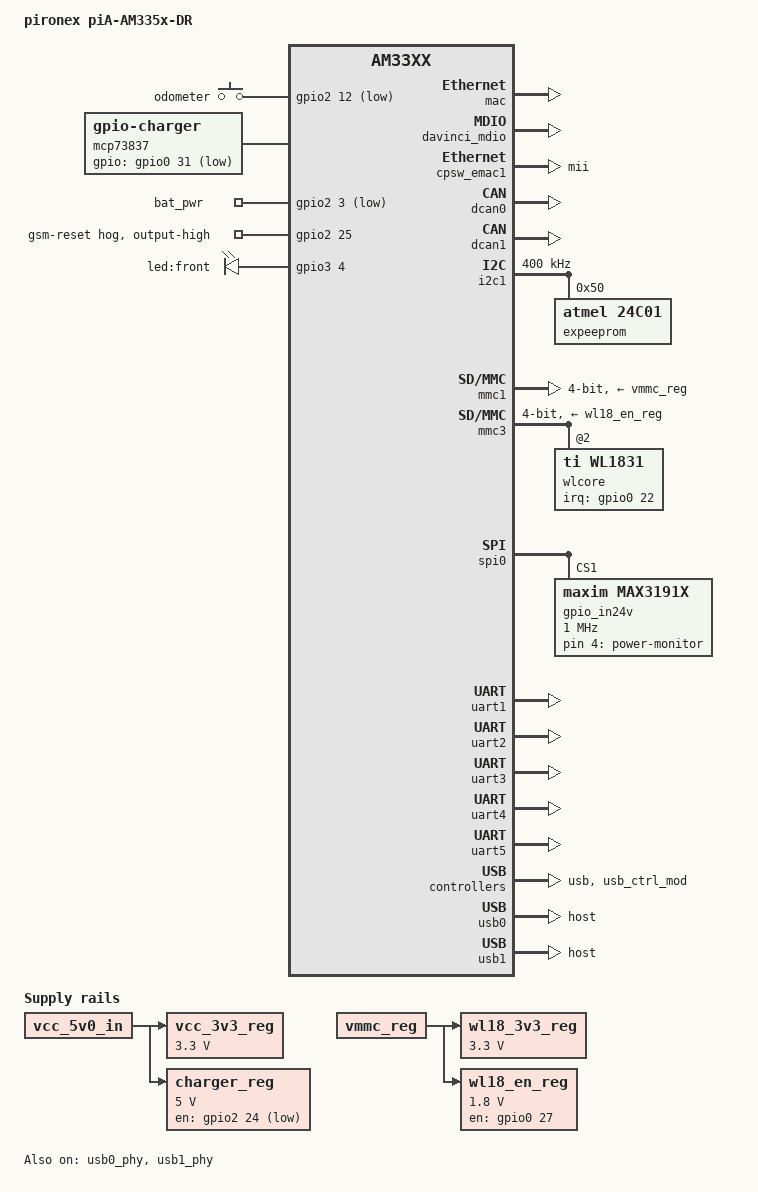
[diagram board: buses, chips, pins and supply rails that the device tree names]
/*
 * Copyright (C) 2015 pironex GmbH (http://www.pironex.de)
 *
 * This program is free software; you can redistribute it and/or modify
 * it under the terms of the GNU General Public License version 2 as
 * published by the Free Software Foundation.
 */
/dts-v1/;

#include "am335x-pia-pm.dtsi"
#include <dt-bindings/interrupt-controller/irq.h>

/ {
	model = "pironex piA-AM335x-DR";
	compatible = "pironex,am335x-pia-dr", "pironex,am335x-pia-pm", "ti,am33xx";

	/* cpus: defined in PM */
	/* memory: defined in PM, TODO different memory configurations */

	vcc_3v3_reg: fixedregulator@1 {
		compatible = "regulator-fixed";
		regulator-name = "vcc_3v3_reg";
		regulator-min-microvolt = <3300000>;
		regulator-max-microvolt = <3300000>;
		regulator-boot-on;
		regulator-always-on;
		vin-supply = <&vcc_5v0_in>; /* turned on with vaux2, supplied by vcc_5v0 */
	};

	gsm_vbat_reg: fixedregulator@2 {
		compatible = "regulator-fixed";
		regulator-name = "gsm_vbat_reg";
		regulator-min-microvolt = <4200000>;
		regulator-max-microvolt = <4200000>;
		regulator-max-microamp = <3000000>;
		regulator-boot-on;
		regulator-always-on;
		enable-active-high;
		gpio = <&gpio2 2 GPIO_ACTIVE_HIGH>; /* GSM_PWR_EN */
		vin-supply = <&vcc_5v0_in>; /* turned on with vaux2, supplied by vcc_5v0 */

		status = "disabled";
	};

	wl18_3v3_reg: fixedregulator@3 {
		compatible = "regulator-fixed";
		regulator-name = "vwl18xx_3v3";
		regulator-min-microvolt = <3300000>;
		regulator-max-microvolt = <3300000>;
		regulator-boot-on;
		regulator-always-on;
		vin-supply = <&vmmc_reg>;
	};

	wl18_en_reg: fixedregulator@4 {
		compatible = "regulator-fixed";
		regulator-name = "wlan-en-regulator";
		regulator-min-microvolt = <1800000>;
		regulator-max-microvolt = <1800000>;
		gpio = <&gpio0 27 GPIO_ACTIVE_HIGH>;
		startup-delay-us = <70000>; /* wait 70 ms for WL18xx startup */
		enable-active-high;
		/* turned on with vmmc from TPS, powered by vcc_5v0,
		   GPIO is used to turn the WL18xx module on via WLAN_EN */
		vin-supply = <&vmmc_reg>;
	};

	charger_reg: fixedregulator@5 {
		compatible = "regulator-fixed";
		regulator-name = "charger-regulator";
		regulator-min-microvolt = <5000000>;
		regulator-max-microvolt = <5000000>;
		regulator-boot-on;
		regulator-always-on;
		gpio = <&gpio2 24 GPIO_ACTIVE_LOW>;
		vin-supply = <&vcc_5v0_in>;
	};

	inputs_24v: inputs_24v {
		compatible = "gpio-keys";
	};

	inputs_24v_polled: inputs_24v_polled {
		compatible = "gpio-keys-polled";
		poll-interval = <500>;
	};

	mcp73837: charger {
		pinctrl-names = "default";
		pinctrl-0 = <&charger_pins>;

		compatible = "gpio-charger";
		charger-type = "mains";
		gpios = <&gpio0 31 GPIO_ACTIVE_LOW>;
	};

	main_battery: battery {
		/* TODO make battery usable */
		power-supplies = <&mcp73837>;
	};

	bat_pwr: gpio_poweroff {
		/* REVISIT this doesn't work without a battery */ 
		pinctrl-names = "default";
		pinctrl-0 = <&bat_pwr_pins>;

		compatible = "gpio-poweroff";
		gpios = <&gpio2 3 GPIO_ACTIVE_LOW>;
	};
};

&gpio2 {
	gpio_gsm_reset {
		gpio-hog;
		gpios = <25 GPIO_ACTIVE_HIGH>;
		output-high;
		line-name = "gsm-reset";
	};
};

&am33xx_pinmux {
	pinctrl-names = "default";
	pinctrl-0 = <&board_pins &clkout2_pin>;

	board_pins: pinmux_board_pins {
		pinctrl-single,pins = <
			0x090 (PIN_INPUT_PULLUP | MUX_MODE7)	/* GSM_PWR_EN: gpmc_advn_ale.gpio2_2 */
			0x098 (PIN_INPUT_PULLUP | MUX_MODE7)	/* GSM_PWR_OK: gpmc_wen.gpio2_4 */
			0x0EC (PIN_INPUT | MUX_MODE7)		/* GSM_RESET: lcd_ac_bias_en.gpio2_25 */
			0x114 (PIN_INPUT | MUX_MODE7)		/* GSM_STATUS: mii1_txen.gpio3_3 */
			0x1A0 (PIN_INPUT_PULLDOWN  | MUX_MODE7)	/* GSM_PWR_KEY: mcasp0_aclkr.gpio3_18 */
			0x1b4 (PIN_OUTPUT_PULLDOWN | MUX_MODE3)	/* xdma_event_intr1.clkout2 */
		>;
	};

	bat_pwr_pins: pinmux_bat_pwr_pins {
		pinctrl-single,pins = <
			0x094 (PIN_INPUT_PULLUP | MUX_MODE7)	/* bat_pwr: gpmc_oen_ren.gpio2_3 */
		>;
	};

	charger_pins: pinmux_charger_pins {
		pinctrl-single,pins = <
			0x074 (PIN_INPUT_PULLUP | MUX_MODE7)	/* PowerGood: gpmc_wpn.gpio0_31 */
			0x0E8 (PIN_INPUT | MUX_MODE7)		/* CHR_EN: lcd_pclk.gpio2_24 */
			0x128 (PIN_INPUT_PULLUP | MUX_MODE7)	/* charging: mii1_txd0_ale.gpio0_28 */
		>;
	};

	clkout2_pin: pinmux_clkout2_pin {
		pinctrl-single,pins = <
			0x1b4 (PIN_OUTPUT_PULLDOWN | MUX_MODE3)		/* xdma_event_intr1.clkout2 */
		>;
	};

	cpsw_default: cpsw_default {
		pinctrl-single,pins = <
			/* Slave 2 */
			0x040 (PIN_OUTPUT_PULLDOWN | MUX_MODE1)	/* gpmc_a0.gmii2_txen */
			0x044 (PIN_INPUT_PULLUP | MUX_MODE1)	/* gpmc_a1.mii2_rxdv */
			0x048 (PIN_OUTPUT_PULLDOWN | MUX_MODE1)	/* gpmc_a2.mii2_txd3 */
			0x04c (PIN_OUTPUT_PULLDOWN | MUX_MODE1)	/* gpmc_a3.mii2_txd2 */
			0x050 (PIN_OUTPUT_PULLDOWN | MUX_MODE1)	/* gpmc_a4.mii2_txd1 */
			0x054 (PIN_OUTPUT_PULLDOWN | MUX_MODE1)	/* gpmc_a5.mii2_txd0 */
			0x058 (PIN_INPUT_PULLUP | MUX_MODE1)	/* gpmc_a6.mii2_txclk */
			0x05c (PIN_INPUT_PULLUP | MUX_MODE1)	/* gpmc_a7.mii2_rxclk */
			0x060 (PIN_INPUT_PULLUP | MUX_MODE1)	/* gpmc_a8.mii2_rxd3 */
			0x064 (PIN_INPUT_PULLUP | MUX_MODE1)	/* gpmc_a9.mii2_rxd2 */
			0x068 (PIN_INPUT_PULLUP | MUX_MODE1)	/* gpmc_a10.mii2_rxd1 */
			0x06c (PIN_INPUT_PULLUP | MUX_MODE1)	/* gpmc_a11.mii2_rxd0 */
			0x070 (PIN_INPUT_PULLUP | MUX_MODE1)	/* gpmc_wait0.gmii2_crs */
			0x078 (PIN_INPUT_PULLUP | MUX_MODE1)	/* gpmc_be1n.gmii2_col */
		>;
	};

	cpsw_sleep: cpsw_sleep {
		pinctrl-single,pins = <
			/* Slave 2 reset value */
			0x040 (PIN_INPUT_PULLDOWN | MUX_MODE7)
			0x044 (PIN_INPUT_PULLDOWN | MUX_MODE7)
			0x048 (PIN_INPUT_PULLDOWN | MUX_MODE7)
			0x04c (PIN_INPUT_PULLDOWN | MUX_MODE7)
			0x050 (PIN_INPUT_PULLDOWN | MUX_MODE7)
			0x054 (PIN_INPUT_PULLDOWN | MUX_MODE7)
			0x058 (PIN_INPUT_PULLDOWN | MUX_MODE7)
			0x05c (PIN_INPUT_PULLDOWN | MUX_MODE7)
			0x060 (PIN_INPUT_PULLDOWN | MUX_MODE7)
			0x064 (PIN_INPUT_PULLDOWN | MUX_MODE7)
			0x068 (PIN_INPUT_PULLDOWN | MUX_MODE7)
			0x06c (PIN_INPUT_PULLDOWN | MUX_MODE7)
			0x070 (PIN_INPUT_PULLDOWN | MUX_MODE7)
			0x078 (PIN_INPUT_PULLDOWN | MUX_MODE7)
		>;
	};

	davinci_mdio_default: davinci_mdio_default {
		pinctrl-single,pins = <
			/* MDIO */
			0x148 (PIN_INPUT_PULLUP | SLEWCTRL_FAST | MUX_MODE0)	/* mdio_data.mdio_data */
			0x14c (PIN_OUTPUT_PULLUP | MUX_MODE0)			/* mdio_clk.mdio_clk */
		>;
	};

	davinci_mdio_sleep: davinci_mdio_sleep {
		pinctrl-single,pins = <
			/* MDIO reset value */
			0x148 (PIN_INPUT_PULLDOWN | MUX_MODE7)
			0x14c (PIN_INPUT_PULLDOWN | MUX_MODE7)
		>;
	};

	dcan0_pins: pinmux_dcan0_pins {
		pinctrl-single,pins = <
			0x178 (PIN_OUTPUT | MUX_MODE2)	/* uart1_ctsn.dcan0_tx */
			0x17C (PIN_INPUT | MUX_MODE2)	/* uart1_rtsn.dcan0_rx */
			0x194 (PIN_INPUT_PULLUP | MUX_MODE7) /* CAN0_RES: mcasp0_fsx.gpio3_15 */
		>;
	};

	dcan1_pins: pinmux_dcan1_pins {
		pinctrl-single,pins = <
			0x168 (PIN_OUTPUT | MUX_MODE2)	/* uart0_ctsn.dcan1_tx */
			0x16C (PIN_INPUT | MUX_MODE2)	/* uart0_rtsn.dcan1_rx */
			0x190 (PIN_INPUT_PULLUP | MUX_MODE7) /* CAN1_RES: mcasp0_aclkx.gpio3_14 */
		>;
	};

	inputs_24v_pins: pinmux_inputs_24v_pins {
		pinctrl-single,pins = <
			0x0B8 (PIN_INPUT | MUX_MODE7)	/* Odometer: lcd_data6.gpio2_12 */
		>;
	};

	i2c1_pins: pinmux_i2c1_pins {
		pinctrl-single,pins = <
			0x10c (PIN_INPUT_PULLUP | MUX_MODE3)	/* i2c0_sda.i2c0_sda */
			0x110 (PIN_INPUT_PULLUP | MUX_MODE3)	/* i2c0_scl.i2c0_scl */
		>;
	};

	led_pins: pinmux_led {
		pinctrl-single,pins = <
			0x07c (PIN_OUTPUT_PULLDOWN | MUX_MODE7)	/* LED1 gpmc_csn0.gpio1_29 */
			0x118 (PIN_OUTPUT_PULLDOWN | MUX_MODE7)	/* LED2 mii1_rxvd.gpio3_4 */
		>;
	};

	mmc1_pins: pinmux_mmc1_pins {
		pinctrl-single,pins = <
			0x0f0 (PIN_INPUT_PULLUP | MUX_MODE0)	/* mmc0_dat0.mmc0_dat0 */
			0x0f4 (PIN_INPUT_PULLUP | MUX_MODE0)	/* mmc0_dat1.mmc0_dat1 */
			0x0f8 (PIN_INPUT_PULLUP | MUX_MODE0)	/* mmc0_dat2.mmc0_dat2 */
			0x0fc (PIN_INPUT_PULLUP | MUX_MODE0)	/* mmc0_dat3.mmc0_dat3 */
			0x100 (PIN_INPUT_PULLUP | MUX_MODE0)	/* mmc0_clk.mmc0_clk */
			0x104 (PIN_INPUT_PULLUP | MUX_MODE0)	/* mmc0_cmd.mmc0_cmd */
		>;
	};

	max3191x_pins: pinmux_max3191x_pins {
		pinctrl-single,pins = <
			0x160 (PIN_INPUT_PULLUP | MUX_MODE0) /* spi0_cs1.spi0_cs1 */
			0x024 (PIN_INPUT_PULLUP | MUX_MODE7) /* gpmcs_ad9.gpio0_23 */
		>;
	};
	/* WL18xx */
	mmc3_pins_default: pinmux_mmc3_pins_default {
		pinctrl-single,pins = <
			0x30 (PIN_INPUT_PULLUP | MUX_MODE3)	/* gpmc_ad12.mmc2_dat0 */
			0x34 (PIN_INPUT_PULLUP | MUX_MODE3)	/* gpmc_ad13.mmc2_dat1 */
			0x38 (PIN_INPUT_PULLUP | MUX_MODE3)	/* gpmc_ad14.mmc2_dat2 */
			0x3C (PIN_INPUT_PULLUP | MUX_MODE3)	/* gpmc_ad15.mmc2_dat3 */
			0x88 (PIN_INPUT_PULLUP | MUX_MODE3)	/* gpmc_csn3.mmc2_cmd */
			0x8C (PIN_INPUT_PULLUP | MUX_MODE3)	/* gpmc_clk.mmc2_clk */
		>;
	};
	mmc3_pins_sleep: pinmux_mmc3_pins_sleep {
		pinctrl-single,pins = <
			0x30 (PIN_INPUT_PULLDOWN | MUX_MODE7)	/* gpmc_ad12.mmc2_dat0 */
			0x34 (PIN_INPUT_PULLDOWN | MUX_MODE7)	/* gpmc_ad13.mmc2_dat1 */
			0x38 (PIN_INPUT_PULLDOWN | MUX_MODE7)	/* gpmc_ad14.mmc2_dat2 */
			0x3C (PIN_INPUT_PULLDOWN | MUX_MODE7)	/* gpmc_ad15.mmc2_dat3 */
			0x88 (PIN_INPUT_PULLDOWN | MUX_MODE7)	/* gpmc_csn3.mmc2_cmd */
			0x8C (PIN_INPUT_PULLDOWN | MUX_MODE7)	/* gpmc_clk.mmc2_clk */
		>;
	};

	uart1_pins: pinmux_uart1_pins {
		pinctrl-single,pins = <
			0x198 (PIN_OUTPUT | MUX_MODE7)		/* DE mcasp0_axr0.gpio3_16 */
			0x180 (PIN_INPUT_PULLUP | MUX_MODE0)	/* uart1_rxd.uart1_rxd */
			0x184 (PIN_OUTPUT_PULLDOWN | MUX_MODE0)	/* uart1_txd.uart1_txd */
		>;
	};

	uart2_pins: pinmux_uart2_pins {
		pinctrl-single,pins = <
			/* 0x0C0 (PIN_INPUT_PULLUP | MUX_MODE6) */	/* lcd_data8.uart2_ctsn */
			/* 0x0C4 (PIN_OUTPUT | MUX_MODE6) */	/* lcd_data9.uart2_rtsn */
			0x12C (PIN_INPUT_PULLUP | MUX_MODE1)	/* mii1_txclk.uart2_rxd */
			0x130 (PIN_OUTPUT_PULLDOWN | MUX_MODE1)	/* mii1_rxclk.uart2_txd */
			0x19C (PIN_INPUT_PULLUP | MUX_MODE7)	/* UART2.RI: mcasp0_ahclkr.gpio3_17 */
			0x1A4 (PIN_INPUT | MUX_MODE7)	/* UART2.DTR: mcasp0_fsr.gpio3_19 */
		>;
	};

	uart3_pins: pinmux_uart3_pins {
		pinctrl-single,pins = <
			0x0C8 (PIN_INPUT_PULLUP | MUX_MODE6)	/* lcd_data10.uart3_ctsn */
			0x0CC (PIN_OUTPUT_PULLDOWN | MUX_MODE6)	/* lcd_data11.uart3_rtsn */
			0x134 (PIN_INPUT_PULLUP | MUX_MODE1)	/* mii1_rxd3.uart3_rxd */
			0x138 (PIN_OUTPUT_PULLDOWN | MUX_MODE1)	/* mii1_rxd2.uart3_txd */
		>;
	};

	uart4_pins: pinmux_uart4_pins {
		pinctrl-single,pins = <
			0x11C (PIN_INPUT_PULLUP | MUX_MODE3)	/* mii1_txd3.uart4_rxd */
			0x120 (PIN_OUTPUT_PULLDOWN | MUX_MODE3)	/* mii1_txd2.uart4_txd */
		>;
	};

	uart5_pins: pinmux_uart5_pins {
		pinctrl-single,pins = <
			0x108 (PIN_INPUT_PULLUP | MUX_MODE3)	/* mii1_col.uart5_rxd */
			0x144 (PIN_OUTPUT | MUX_MODE3)	/* mii1_refclk.uart5_txd */
		>;
	};

	usb0_pins: pinmux_usb0_pins {
		pinctrl-single,pins = <
			0x21c (PIN_OUTPUT | MUX_MODE0)	/* usb0_drvvbus.usb0_drvvbus */
		>;
	};

	usb1_pins: pinmux_usb1_pins {
		pinctrl-single,pins = <
			0x234 (PIN_OUTPUT | MUX_MODE0)	/* usb1_drvvbus.usb1_drvvbus */
		>;
	};

	/* wl18xx card enable/irq GPIOs. */
	wlan_pins_default: pinmux_wlan_pins_default {
		pinctrl-single,pins = <
			0x020 (PIN_INPUT | MUX_MODE7)		/* WLAN_IRQ gpmc_ad8.gpio0_22 */
			0x02C (PIN_OUTPUT_PULLDOWN | MUX_MODE7)	/* WLAN_EN gpmc_ad11.gpio0_27 */
			0x164 (PIN_OUTPUT_PULLDOWN | MUX_MODE7)	/* BT_EN ecap0_in_pwm0_out.gpio0_7 */
		>;
	};

	wlan_pins_sleep: pinmux_wlan_pins_sleep {
		pinctrl-single,pins = <
			0x020 (PIN_INPUT | MUX_MODE7)		/* WLAN_IRQ gpmc_ad9.gpio0_22 */
			0x02C (PIN_OUTPUT_PULLDOWN | MUX_MODE7)	/* WLAN_EN gpmc_ad11.gpio0_27 */
			0x164 (PIN_OUTPUT_PULLUP | MUX_MODE7)	/* BT_EN ecap0_in_pwm0_out.gpio0_7 */
		>;
	};
};

&mac {
	pinctrl-names = "default", "sleep";
	pinctrl-0 = <&cpsw_default>;
	pinctrl-1 = <&cpsw_sleep>;
	active_slave = <1>; /* only MII2 connected */

	status = "okay";
};

&davinci_mdio {
	pinctrl-names = "default", "sleep";
	pinctrl-0 = <&davinci_mdio_default>;
	pinctrl-1 = <&davinci_mdio_sleep>;

	status = "okay";
};

&cpsw_emac1 {
	/* PHY is a IP175 switch, host port has PHY address 5 */
	phy_id = <&davinci_mdio>, <5>;
	phy-mode = "mii";
};

&dcan0 {
	pinctrl-names = "default";
	pinctrl-0 = <&dcan0_pins>;
	/* TODO is there a ways to provide a -supply? */

	status = "okay";
};

&dcan1 {
	pinctrl-names = "default";
	pinctrl-0 = <&dcan1_pins>;

	status = "okay";
};

&i2c1 {
	pinctrl-names = "default";
	pinctrl-0 = <&i2c1_pins>;
	clock-frequency = <400000>; /* 400 kHz */

	status = "okay";

	/* 24AA02E48 EEPROM with UID */
	expeeprom@50 {
		compatible = "atmel,24c01";
		reg = <0x50>;
		pagesize = <8>;
	};
};

&inputs_24v {
	pinctrl-names = "default";
	pinctrl-0 = <&inputs_24v_pins>;
	#address-cells = <1>;
	#size-cells = <0>;
	#address-cells = <1>;
	#size-cells = <0>;

	ev_odometer {
		label = "odometer";
		linux,code = <0x100>;
		gpios = <&gpio2 12 GPIO_ACTIVE_LOW>;
	};
};

&inputs_24v_polled {
	#address-cells = <1>;
	#size-cells = <0>;
	#address-cells = <1>;
	#size-cells = <0>;

	ev_pwrmon {
		label = "power-monitor";
		linux,code = <0x101>;
		gpios = <&gpio_in24v 4 0>;
	};
};

&leds {
	led@2 {
		label = "led:front";
		gpios = <&gpio3 4 GPIO_ACTIVE_HIGH>;
		linux,default-trigger = "timer";
		default-state = "on";
	};
};

/* uSD */
&mmc1 {
	vmmc-supply = <&vmmc_reg>;
	bus-width = <4>; /* 4 data lines */
	pinctrl-names = "default";
	pinctrl-0 = <&mmc1_pins>;

	status = "okay";
};

&mmc3 {
	vmmc-supply = <&wl18_en_reg>;
	bus-width = <4>;
	pinctrl-names = "default", "sleep";
	pinctrl-0 = <&mmc3_pins_default &wlan_pins_default>;
	pinctrl-1 = <&mmc3_pins_sleep &wlan_pins_sleep>;
	ti,non-removable;
	ti,needs-special-hs-handling;
	cap-power-off-card;
	keep-power-in-suspend;

	dmas = <&edma_xbar 12 0 1
		&edma_xbar 13 0 2>;
	dma-names = "tx", "rx";

	#address-cells = <1>;
	#size-cells = <0>;

	status = "okay";

	wlcore: wlcore@0 {
		compatible = "ti,wl1831";
		reg = <2>;
		interrupt-parent = <&gpio0>;
		interrupts = <22 IRQ_TYPE_EDGE_RISING>;
	};

};

/* SPI Busses */
&spi0 {
	gpio_in24v: max31911@1 {
		pinctrl-0 = <&max3191x_pins>;
		pinctrl-names = "default";

		compatible = "maxim,max3191x";
		spi-max-frequency = <1000000>;
		reg = <1>;

		gpio-controller;
		#gpio-cells = <2>; /* 2nd unused */
	};
};

/* RS485 */
&uart1 {
	/* use old omap3-uart to ensure proper RS485 support via RTS GPIO */
	compatible = "ti,omap3-uart";

	pinctrl-names = "default";
	pinctrl-0 = <&uart1_pins>;

	rts-gpio = <&gpio3 16 GPIO_ACTIVE_HIGH>;
	rs485-rts-active-high;
	rs485-rts-delay = <1 1>;
	linux,rs485-enabled-at-boot-time;

	status = "okay";
};

/* SIMCOM GSM AT */
&uart2 {
	pinctrl-names = "default";
	pinctrl-0 = <&uart2_pins>;

	status = "okay";
};

/* WL1871 BT HCI */
&uart3 {
	pinctrl-names = "default";
	pinctrl-0 = <&uart3_pins>;

	status = "okay";
};

/* SIMCOM GPS NMEA */
&uart4 {
	pinctrl-names = "default";
	pinctrl-0 = <&uart4_pins>;

	status = "okay";
};

/* IBIS */
&uart5 {
	pinctrl-names = "default";
	pinctrl-0 = <&uart5_pins>;

	status = "okay";
};

&usb {
	status = "okay";
};

&usb_ctrl_mod {
	status = "okay";
};

&usb0_phy {
	pinctrl-names = "default";
	pinctrl-0 = <&usb0_pins>;

	status = "okay";
};

&usb1_phy {
	pinctrl-names = "default";
	pinctrl-0 = <&usb1_pins>;

	status = "okay";
};

&usb0 {
	status = "okay";
	dr_mode = "host";
};

&usb1 {
	status = "okay";
	dr_mode = "host";
};

&cppi41dma  {
	status = "okay";
};
